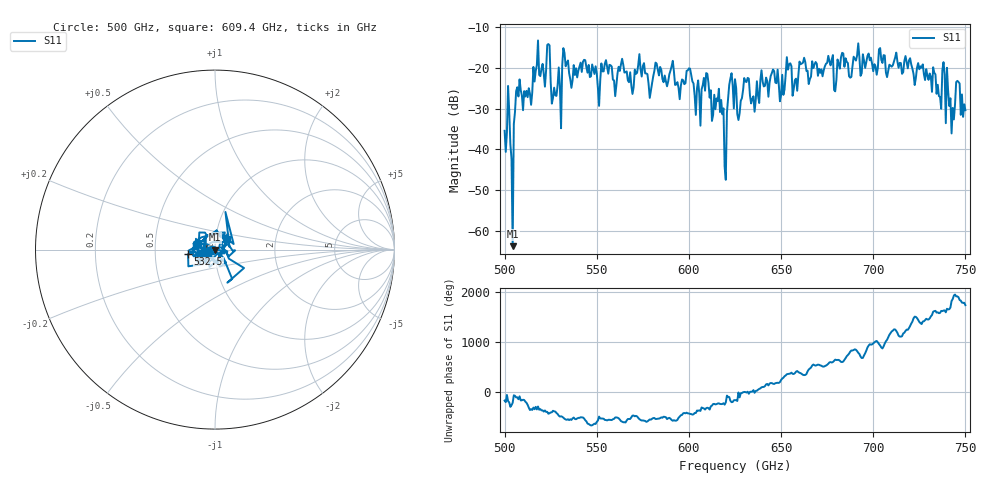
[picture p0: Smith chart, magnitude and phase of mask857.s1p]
!Created with skrf (http://scikit-rf.org).
# GHz S MA R 50.0
!freq magS11 angS11
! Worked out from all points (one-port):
!   401 points, 500 GHz to 750 GHz, reference 50 ohm
!   lowest |S11| = -63.8 dB at 504.4 GHz (marker M1), VSWR 1.00, Z = 49.9 + j0.0339 ohm
!   |S11| at or under -10 dB: start of sweep to end of sweep
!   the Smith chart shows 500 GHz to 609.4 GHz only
!   S11 on the Smith chart (normalised r, x): 500 GHz: 0.97, -0.01; 532.5 GHz: 0.74, -0.04; 609.4 GHz: 1.13, +0.13
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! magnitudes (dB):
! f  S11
! 500 GHz  -35.5
! 502.5 GHz  -30.6
! 504.4 GHz  -63.8
! 507.5 GHz  -27.0
! 513.8 GHz  -26.4
! 516.9 GHz  -20.8
! 523.8 GHz  -14.1
! 526.9 GHz  -24.8
! 531.2 GHz  -19.5
! 532.5 GHz  -16.3
! 550.6 GHz  -24.9
! 562.5 GHz  -20.7
! 579.4 GHz  -25.5
! 590.6 GHz  -19.6
! 593.8 GHz  -23.5
! 600 GHz  -20.1
! 605 GHz  -23.1
! 609.4 GHz  -21.3
! 617.5 GHz  -27.9
! 619.4 GHz  -44.3
! 622.5 GHz  -22.6
! 625 GHz  -22.8
! 656.2 GHz  -26.8
! 687.5 GHz  -22.4
! 718.8 GHz  -20.1
! 742.5 GHz  -36.1
! 745.6 GHz  -23.2
! 750 GHz  -30.4
